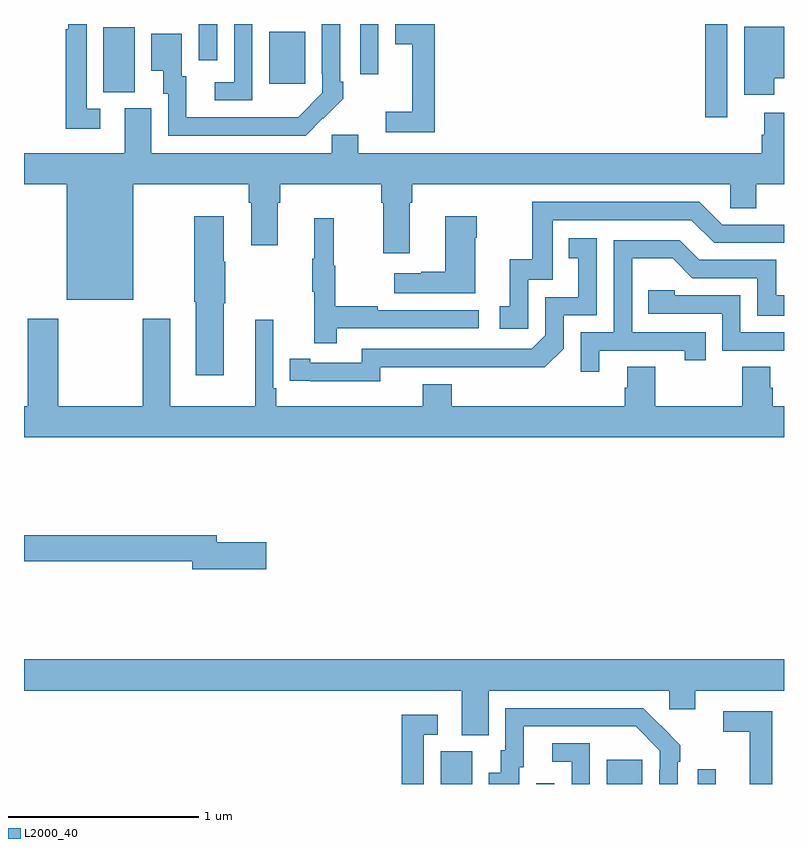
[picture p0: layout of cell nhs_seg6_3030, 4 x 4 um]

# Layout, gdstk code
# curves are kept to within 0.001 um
import gdstk
lib = gdstk.Library(unit=1e-6, precision=1e-09)
def R(c, l, rs):  # rectangles x0, y0, x1, y1
    for r in rs: c.add(gdstk.rectangle(r[:2], r[2:], *l))
def P(c, l, *ps):  # polygons
    for p in ps: c.add(gdstk.Polygon(p, *l))
L2000_40 = (2000, 40)

nhs_seg6_3030 = lib.new_cell('nhs_seg6_3030')
R(nhs_seg6_3030, L2000_40, [(291.194,957.5,291.358,957.672), (291.696,957.5,291.792,957.505), (292.067,957.5,292.255,957.628), (292.545,957.5,292.641,957.577), (292.585,961.008,292.701,961.5), (289.418,961.141,289.582,961.484), (290.291,961.185,290.479,961.459), (290.769,961.236,290.865,961.5), (289.92,961.308,290.016,961.5)])
P(nhs_seg6_3030, L2000_40, [(290.573,961.003),(290.574,961.002),(290.679,961.107),(290.679,961.195),(290.664,961.195),(290.664,961.5),(290.568,961.5),(290.568,961.237),(290.571,961.237),(290.571,961.137),(290.443,961.009),(289.855,961.008),(289.855,961.224),(289.831,961.224),(289.831,961.45),(289.67,961.45),(289.67,961.253),(289.733,961.253),(289.733,961.134),(289.758,961.134),(289.758,960.912),(290.482,960.912)],
  [(291.161,961.5),(290.954,961.5),(290.954,961.394),(291.044,961.394),(291.044,961.039),(290.904,961.039),(290.904,960.93),(291.161,960.93)],
  [(290.202,961.5),(290.106,961.5),(290.106,961.194),(290.004,961.194),(290.004,961.098),(290.202,961.098)],
  [(289.402,961.053),(289.329,961.053),(289.329,961.5),(289.233,961.5),(289.233,961.472),(289.221,961.472),(289.221,960.948),(289.402,960.948)],
  [(292.948,961.214),(293,961.214),(293,961.486),(292.79,961.486),(292.79,961.128),(292.948,961.128)],
  [(289.669,961.056),(289.529,961.056),(289.529,960.82),(289,960.82),(289,960.656),(289.226,960.656),(289.226,960.05),(289.576,960.05),(289.576,960.656),(290.183,960.656),(290.183,960.56),(290.195,960.56),(290.195,960.336),(290.335,960.336),(290.335,960.56),(290.348,960.56),(290.348,960.656),(290.879,960.656),(290.879,960.56),(290.891,960.56),(290.891,960.294),(291.031,960.294),(291.031,960.56),(291.044,960.56),(291.044,960.656),(292.716,960.656),(292.716,960.529),(292.855,960.529),(292.855,960.656),(293,960.656),(293,961.033),(292.895,961.033),(292.895,960.918),(292.883,960.918),(292.883,960.82),(290.758,960.82),(290.758,960.918),(290.619,960.918),(290.619,960.82),(289.669,960.82)],
  [(291.654,960.153),(291.783,960.153),(291.783,960.468),(292.512,960.468),(292.632,960.348),(293,960.348),(293,960.444),(292.674,960.444),(292.554,960.564),(291.675,960.564),(291.675,960.262),(291.557,960.262),(291.557,960.015),(291.504,960.015),(291.504,959.895),(291.654,959.895)],
  [(291.376,960.374),(291.384,960.374),(291.384,960.487),(291.218,960.487),(291.218,960.197),(291.092,960.197),(291.092,960.187),(290.949,960.187),(290.949,960.083),(291.376,960.083)],
  [(290.05,960.031),(290.058,960.031),(290.058,960.248),(290.05,960.248),(290.05,960.487),(289.897,960.487),(289.897,960.037),(289.904,960.037),(289.904,959.652),(290.05,959.652)],
  [(290.645,959.898),(291.394,959.898),(291.394,959.994),(290.861,959.994),(290.861,960.014),(290.638,960.014),(290.638,960.228),(290.63,960.228),(290.63,960.478),(290.528,960.478),(290.528,960.265),(290.517,960.265),(290.517,960.091),(290.528,960.091),(290.528,959.82),(290.645,959.82)],
  [(290.874,959.694),(291.742,959.693),(291.84,959.79),(291.84,959.967),(292.014,959.967),(292.014,960.373),(291.868,960.373),(291.868,960.267),(291.917,960.267),(291.917,960.063),(291.744,960.063),(291.744,959.862),(291.672,959.79),(290.778,959.79),(290.778,959.718),(290.506,959.718),(290.506,959.738),(290.398,959.738),(290.398,959.622),(290.874,959.621)],
  [(292.027,959.781),(292.478,959.781),(292.478,959.73),(292.589,959.73),(292.589,959.877),(292.2,959.877),(292.2,960.266),(292.414,960.266),(292.518,960.162),(292.86,960.162),(292.86,959.964),(293,959.964),(293,960.073),(292.959,960.073),(292.959,960.258),(292.555,960.258),(292.45,960.363),(292.104,960.363),(292.104,959.877),(291.93,959.877),(291.93,959.67),(292.027,959.67)],
  [(293,959.877),(292.77,959.877),(292.77,960.072),(292.425,960.072),(292.425,960.099),(292.285,960.099),(292.285,959.976),(292.674,959.976),(292.674,959.781),(293,959.781)],
  [(293,959.488),(292.94,959.488),(292.94,959.586),(292.927,959.586),(292.927,959.696),(292.78,959.696),(292.78,959.488),(292.323,959.488),(292.323,959.696),(292.175,959.696),(292.175,959.586),(292.163,959.586),(292.163,959.488),(291.251,959.488),(291.251,959.605),(291.098,959.605),(291.098,959.488),(290.327,959.488),(290.327,959.584),(290.313,959.584),(290.313,959.944),(290.216,959.944),(290.216,959.488),(289.771,959.488),(289.771,959.95),(289.624,959.95),(289.624,959.488),(289.179,959.488),(289.179,959.95),(289.019,959.95),(289.019,959.488),(289,959.488),(289,959.324),(293,959.324)],
  [(290.275,958.772),(290.014,958.772),(290.014,958.808),(289,958.808),(289,958.672),(289.886,958.672),(289.886,958.63),(290.275,958.63)],
  [(291.445,957.992),(292.395,957.992),(292.395,957.894),(292.534,957.894),(292.534,957.992),(293,957.992),(293,958.156),(289,958.156),(289,957.992),(291.305,957.992),(291.305,957.757),(291.445,957.757)],
  [(291.607,957.588),(291.631,957.588),(291.631,957.804),(292.219,957.804),(292.347,957.675),(292.347,957.575),(292.344,957.575),(292.344,957.5),(292.44,957.5),(292.44,957.617),(292.455,957.617),(292.455,957.705),(292.258,957.9),(291.534,957.9),(291.534,957.678),(291.509,957.678),(291.509,957.559),(291.446,957.559),(291.446,957.5),(291.607,957.5)],
  [(292.937,957.882),(292.68,957.882),(292.68,957.774),(292.82,957.774),(292.82,957.5),(292.937,957.5)],
  [(291.105,957.759),(291.178,957.759),(291.178,957.865),(290.989,957.865),(290.989,957.5),(291.105,957.5)],
  [(291.978,957.714),(291.78,957.714),(291.78,957.618),(291.882,957.618),(291.882,957.5),(291.978,957.5)])

lib.write_gds('nhs_seg6_3030.gds')
